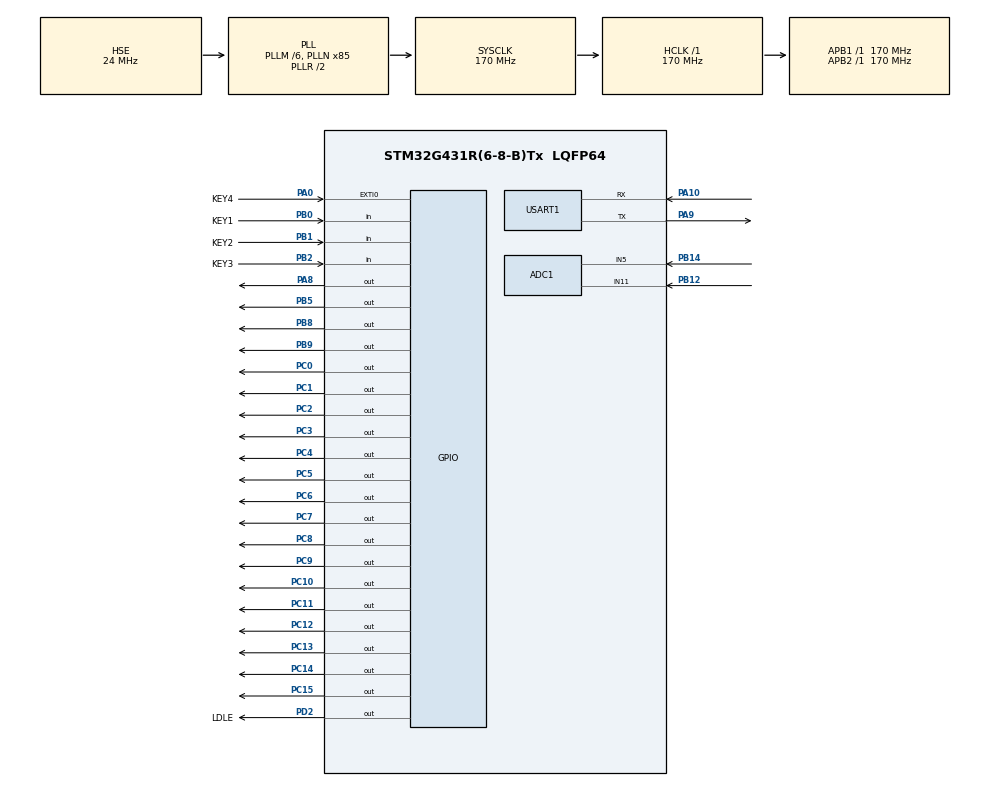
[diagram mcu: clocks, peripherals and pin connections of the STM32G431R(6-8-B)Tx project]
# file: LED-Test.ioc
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ADC1.Channel-0\#ChannelRegularConversion=ADC_CHANNEL_11
ADC1.Channel-1\#ChannelRegularConversion=ADC_CHANNEL_5
ADC1.ContinuousConvMode=ENABLE
ADC1.LowPowerAutoWait=DISABLE
ADC1.NbrOfConversion=2
ADC1.NbrOfConversionFlag=1
ADC1.OffsetNumber-0\#ChannelRegularConversion=ADC_OFFSET_NONE
ADC1.OffsetNumber-1\#ChannelRegularConversion=ADC_OFFSET_NONE
ADC1.Overrun=ADC_OVR_DATA_OVERWRITTEN
ADC1.Rank-0\#ChannelRegularConversion=1
ADC1.Rank-1\#ChannelRegularConversion=2
ADC1.SamplingTime-0\#ChannelRegularConversion=ADC_SAMPLETIME_2CYCLES_5
ADC1.SamplingTime-1\#ChannelRegularConversion=ADC_SAMPLETIME_2CYCLES_5
ADC1.master=1
Mcu.Family=STM32G4
Mcu.Name=STM32G431R(6-8-B)Tx
Mcu.Package=LQFP64
NVIC.ADC1_2_IRQn=true\:0\:0\:false\:false\:true\:true\:true
NVIC.PriorityGroup=NVIC_PRIORITYGROUP_4
NVIC.TIM8_UP_IRQn=true\:0\:0\:false\:false\:true\:true\:true
NVIC.USART1_IRQn=true\:0\:0\:false\:false\:true\:true\:true
PA0.GPIO_Label=KEY4
PA0.GPIO_ModeDefaultEXTI=GPIO_MODE_IT_FALLING
PA0.GPIO_PuPd=GPIO_PULLUP
PA0.Signal=GPXTI0
PA10.Mode=Asynchronous
PA10.Signal=USART1_RX
PA13.Mode=Serial_Wire
PA13.Signal=SYS_JTMS-SWDIO
PA14.Mode=Serial_Wire
PA14.Signal=SYS_JTCK-SWCLK
PA8.GPIO_PuPd=GPIO_PULLUP
PA8.Signal=GPIO_Output
PA9.Mode=Asynchronous
PA9.Signal=USART1_TX
PB0.GPIO_Label=KEY1
PB0.GPIO_PuPd=GPIO_PULLUP
PB0.Signal=GPIO_Input
PB1.GPIO_Label=KEY2
PB1.GPIO_PuPd=GPIO_PULLUP
PB1.Signal=GPIO_Input
PB12.Mode=IN11-Single-Ended
PB12.Signal=ADC1_IN11
PB14.Mode=IN5-Single-Ended
PB14.Signal=ADC1_IN5
PB2.GPIO_Label=KEY3
PB2.GPIO_PuPd=GPIO_PULLUP
PB2.Signal=GPIO_Input
PB5.GPIO_PuPd=GPIO_PULLUP
PB5.Signal=GPIO_Output
PB8-BOOT0.GPIO_PuPd=GPIO_PULLUP
PB8-BOOT0.Signal=GPIO_Output
PB9.GPIO_PuPd=GPIO_PULLUP
PB9.Signal=GPIO_Output
PC0.GPIO_PuPd=GPIO_PULLUP
PC0.Signal=GPIO_Output
PC1.GPIO_PuPd=GPIO_PULLUP
PC1.Signal=GPIO_Output
PC10.GPIO_ModeDefaultOutputPP=GPIO_MODE_OUTPUT_PP
PC10.GPIO_PuPd=GPIO_PULLUP
PC10.GPIO_Speed=GPIO_SPEED_FREQ_LOW
PC10.PinState=GPIO_PIN_RESET
PC10.Signal=GPIO_Output
PC11.GPIO_ModeDefaultOutputPP=GPIO_MODE_OUTPUT_PP
PC11.GPIO_PuPd=GPIO_PULLUP
PC11.GPIO_Speed=GPIO_SPEED_FREQ_LOW
PC11.PinState=GPIO_PIN_RESET
PC11.Signal=GPIO_Output
PC12.GPIO_ModeDefaultOutputPP=GPIO_MODE_OUTPUT_PP
PC12.GPIO_PuPd=GPIO_PULLUP
PC12.GPIO_Speed=GPIO_SPEED_FREQ_LOW
PC12.PinState=GPIO_PIN_RESET
PC12.Signal=GPIO_Output
PC13.GPIO_ModeDefaultOutputPP=GPIO_MODE_OUTPUT_PP
PC13.GPIO_PuPd=GPIO_PULLUP
PC13.GPIO_Speed=GPIO_SPEED_FREQ_LOW
PC13.PinState=GPIO_PIN_RESET
PC13.Signal=GPIO_Output
PC14-OSC32_IN.GPIO_ModeDefaultOutputPP=GPIO_MODE_OUTPUT_PP
PC14-OSC32_IN.GPIO_PuPd=GPIO_PULLUP
PC14-OSC32_IN.GPIO_Speed=GPIO_SPEED_FREQ_LOW
PC14-OSC32_IN.PinState=GPIO_PIN_RESET
PC14-OSC32_IN.Signal=GPIO_Output
PC15-OSC32_OUT.GPIO_ModeDefaultOutputPP=GPIO_MODE_OUTPUT_PP
PC15-OSC32_OUT.GPIO_PuPd=GPIO_PULLUP
PC15-OSC32_OUT.GPIO_Speed=GPIO_SPEED_FREQ_LOW
PC15-OSC32_OUT.PinState=GPIO_PIN_RESET
PC15-OSC32_OUT.Signal=GPIO_Output
PC2.GPIO_PuPd=GPIO_PULLUP
PC2.Signal=GPIO_Output
PC3.GPIO_PuPd=GPIO_PULLUP
PC3.Signal=GPIO_Output
PC4.GPIO_PuPd=GPIO_PULLUP
PC4.Signal=GPIO_Output
PC5.GPIO_PuPd=GPIO_PULLUP
PC5.Signal=GPIO_Output
PC6.GPIO_PuPd=GPIO_PULLUP
PC6.Signal=GPIO_Output
PC7.GPIO_PuPd=GPIO_PULLUP
PC7.Signal=GPIO_Output
PC8.GPIO_ModeDefaultOutputPP=GPIO_MODE_OUTPUT_PP
PC8.GPIO_PuPd=GPIO_PULLUP
PC8.GPIO_Speed=GPIO_SPEED_FREQ_LOW
PC8.PinState=GPIO_PIN_RESET
PC8.Signal=GPIO_Output
PC9.GPIO_ModeDefaultOutputPP=GPIO_MODE_OUTPUT_PP
PC9.GPIO_PuPd=GPIO_PULLUP
PC9.GPIO_Speed=GPIO_SPEED_FREQ_LOW
PC9.PinState=GPIO_PIN_RESET
PC9.Signal=GPIO_Output
PD2.GPIO_Label=LDLE
PD2.GPIO_PuPd=GPIO_PULLDOWN
PD2.PinState=GPIO_PIN_SET
PD2.Signal=GPIO_Output
PF0-OSC_IN.Mode=HSE-External-Oscillator
PF0-OSC_IN.Signal=RCC_OSC_IN
PF1-OSC_OUT.Mode=HSE-External-Oscillator
PF1-OSC_OUT.Signal=RCC_OSC_OUT
ProjectManager.HeapSize=0x200
ProjectManager.StackSize=0x400
ProjectManager.TargetToolchain=MDK-ARM V5.32
RCC.ADC12Freq_Value=170000000
RCC.AHBFreq_Value=170000000
RCC.APB1Freq_Value=170000000
RCC.APB1TimFreq_Value=170000000
RCC.APB2Freq_Value=170000000
RCC.APB2TimFreq_Value=170000000
RCC.CortexFreq_Value=170000000
RCC.EXTERNAL_CLOCK_VALUE=12288000
RCC.HCLKFreq_Value=170000000
RCC.HSE_VALUE=24000000
RCC.HSI48_VALUE=48000000
RCC.HSI_VALUE=16000000
RCC.LSE_VALUE=32768
RCC.PLLM=RCC_PLLM_DIV6
RCC.PLLN=85
RCC.PLLSourceVirtual=RCC_PLLSOURCE_HSE
RCC.SYSCLKFreq_VALUE=170000000
RCC.SYSCLKSource=RCC_SYSCLKSOURCE_PLLCLK
RCC.USBFreq_Value=170000000
RCC.VCOOutputFreq_Value=340000000
TIM8.PeriodNoDither=10000-1
TIM8.Prescaler=17000-1
USART1.VirtualMode-Asynchronous=VM_ASYNC
VP_SYS_VS_DBSignals.Mode=DisableDeadBatterySignals
VP_TIM8_VS_ClockSourceINT.Mode=Internal
board=custom

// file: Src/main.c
/* USER CODE BEGIN Header */
/**
  ******************************************************************************
  * @file           : main.c
  * @brief          : Main program body
  ******************************************************************************
  * @attention
  *
  * <h2><center>&copy; Copyright (c) 2022 STMicroelectronics.
  * All rights reserved.</center></h2>
  *
  * This software component is licensed by ST under BSD 3-Clause license,
  * the "License"; You may not use this file except in compliance with the
  * License. You may obtain a copy of the License at:
  *                        opensource.org/licenses/BSD-3-Clause
  *
  ******************************************************************************
  */
/* USER CODE END Header */
#include "main.h"
#include "adc.h"
#include "tim.h"
#include "usart.h"
#include "gpio.h"

/* USER CODE BEGIN Includes */
#include "USERLIB.h"
#include <stdio.h>

/* USER CODE END Includes */

/* USER CODE BEGIN PV */
uint8_t ledODR = 7;
uint8_t direction = 0;
uint8_t ucLcd[21];                        /* LCD鏁版�? */
//uint16_t usLcd;                         /* LCD鍒锋柊鏃堕棿 */
uint8_t ucSec = 100;
uint8_t ucCnt = 10;
uint8_t cmd = 0;
uint32_t ADC_Value = 0;
/* USER CODE END PV */

void SystemClock_Config(void);

/* USER CODE BEGIN 0 */
void HAL_TIM_PeriodElapsedCallback(TIM_HandleTypeDef *htim)
{
    if (htim == &htim8)
    {
        ucSec = ucSec + 1;

        LCD_Proc();

        LED_Process(&ledODR, direction);

        HAL_ADC_Start_IT(&hadc1);

    }
}

void HAL_ADC_ConvCpltCallback(ADC_HandleTypeDef *hadc)
{
    HAL_ADC_Stop_IT(&hadc1);     //����ADCת��
    //HAL_ADC_PollForConversion(&hadc1, 50);   //�ȴ�ת����ɣ�50Ϊ���ȴ�ʱ�䣬��λΪms

//    if (HAL_IS_BIT_SET(HAL_ADC_GetState(&hadc1), HAL_ADC_STATE_REG_EOC))
//    {
    ADC_Value = HAL_ADC_GetValue(&hadc1);
    sprintf((char *) ucLcd, " ADC1:%03u", ADC_Value);
    LCD_DisplayStringLine(Line2, ucLcd);
    //HAL_UART_Transmit(&huart1, ADC_Value, sizeof(ADC_Value), 1000);
//    }
}

void HAL_UART_RxCpltCallback(UART_HandleTypeDef *huart)
{
    if (huart->Instance == USART1)
    {
        if (cmd == 0xA1)
        {
            direction = 1;
            HAL_UART_Transmit(&huart1, "Right!\n", sizeof("Right!\n"), 10000);
        }
        if (cmd == 0xA2)
        {
            direction = 0;
            HAL_UART_Transmit(&huart1, "left!\n", sizeof("left!\n"), 10000);
        }
        HAL_UART_Receive_IT(&huart1, &cmd, 1);
    }
}
/* USER CODE END 0 */

int main(void)
{

    /* MCU Configuration--------------------------------------------------------*/

    /* Reset of all peripherals, Initializes the Flash interface and the Systick. */
    HAL_Init();

    /* Configure the system clock */
    SystemClock_Config();

    /* Initialize all configured peripherals */
    MX_GPIO_Init();
    MX_TIM8_Init();
    MX_USART1_UART_Init();
    MX_ADC1_Init();
    /* USER CODE BEGIN 2 */
    HAL_TIM_Base_Start_IT(&htim8);
    //HAL_Delay(500);
    LCD_Init();                                   /* LCD鍒濆鍖? */
    LCD_Clear(Black);                       /* LCD娓呭�? */
    LCD_SetTextColor(White);                /* 璁剧疆�?�楃�? */
    LCD_SetBackColor(Black);                /* 璁剧疆鑳屾櫙 */

    HAL_ADCEx_Calibration_Start(&hadc1, ADC_SINGLE_ENDED);    //ADУ׼

    HAL_UART_Receive_IT(&huart1, &cmd, 1);
    /* USER CODE END 2 */

    /* Infinite loop */
    /* USER CODE BEGIN WHILE */
    while (1)
    {

        //HAL_Delay(500);
        /* USER CODE END WHILE */

    }
}

void SystemClock_Config(void)
{
    RCC_OscInitTypeDef RCC_OscInitStruct = {0};
    RCC_ClkInitTypeDef RCC_ClkInitStruct = {0};
    RCC_PeriphCLKInitTypeDef PeriphClkInit = {0};

    /** Configure the main internal regulator output voltage
    */
    HAL_PWREx_ControlVoltageScaling(PWR_REGULATOR_VOLTAGE_SCALE1_BOOST);
    /** Initializes the RCC Oscillators according to the specified parameters
    * in the RCC_OscInitTypeDef structure.
    */
    RCC_OscInitStruct.OscillatorType = RCC_OSCILLATORTYPE_HSE;
    RCC_OscInitStruct.HSEState = RCC_HSE_ON;
    RCC_OscInitStruct.PLL.PLLState = RCC_PLL_ON;
    RCC_OscInitStruct.PLL.PLLSource = RCC_PLLSOURCE_HSE;
    RCC_OscInitStruct.PLL.PLLM = RCC_PLLM_DIV6;
    RCC_OscInitStruct.PLL.PLLN = 85;
    RCC_OscInitStruct.PLL.PLLP = RCC_PLLP_DIV2;
    RCC_OscInitStruct.PLL.PLLQ = RCC_PLLQ_DIV2;
    RCC_OscInitStruct.PLL.PLLR = RCC_PLLR_DIV2;
    if (HAL_RCC_OscConfig(&RCC_OscInitStruct) != HAL_OK)
    {
        Error_Handler();
    }
    /** Initializes the CPU, AHB and APB buses clocks
    */
    RCC_ClkInitStruct.ClockType = RCC_CLOCKTYPE_HCLK | RCC_CLOCKTYPE_SYSCLK
            | RCC_CLOCKTYPE_PCLK1 | RCC_CLOCKTYPE_PCLK2;
    RCC_ClkInitStruct.SYSCLKSource = RCC_SYSCLKSOURCE_PLLCLK;
    RCC_ClkInitStruct.AHBCLKDivider = RCC_SYSCLK_DIV1;
    RCC_ClkInitStruct.APB1CLKDivider = RCC_HCLK_DIV1;
    RCC_ClkInitStruct.APB2CLKDivider = RCC_HCLK_DIV1;

    if (HAL_RCC_ClockConfig(&RCC_ClkInitStruct, FLASH_LATENCY_4) != HAL_OK)
    {
        Error_Handler();
    }
    /** Initializes the peripherals clocks
    */
    PeriphClkInit.PeriphClockSelection = RCC_PERIPHCLK_USART1 | RCC_PERIPHCLK_ADC12;
    PeriphClkInit.Usart1ClockSelection = RCC_USART1CLKSOURCE_PCLK2;
    PeriphClkInit.Adc12ClockSelection = RCC_ADC12CLKSOURCE_SYSCLK;
    if (HAL_RCCEx_PeriphCLKConfig(&PeriphClkInit) != HAL_OK)
    {
        Error_Handler();
    }
}

/* USER CODE BEGIN 4 */
void LCD_Proc(void)                /* LCD澶勭�? */
{
    sprintf((char *) ucLcd, " SEC:%03u   CNT:%03u ", ucSec, ucCnt);
    LCD_DisplayStringLine(Line1, ucLcd);
//    LCD_DisplayStringLine(Line2, ucLcd);
//    LCD_DisplayStringLine(Line3, ucLcd);
//    LCD_DisplayStringLine(Line4, ucLcd);
//    LCD_DisplayStringLine(Line5, ucLcd);
//    LCD_DisplayStringLine(Line6, ucLcd);
//    LCD_DisplayStringLine(Line7, ucLcd);
//    LCD_DisplayStringLine(Line8, ucLcd);
}
/* USER CODE END 4 */

void Error_Handler(void)
{
    __disable_irq();
    while (1)
    {
    }
}

/************************ (C) COPYRIGHT STMicroelectronics *****END OF FILE****/
